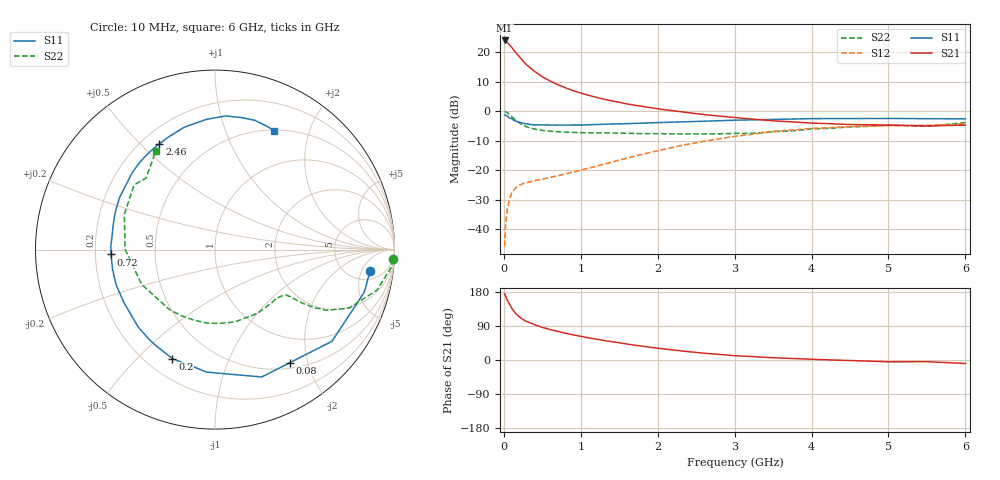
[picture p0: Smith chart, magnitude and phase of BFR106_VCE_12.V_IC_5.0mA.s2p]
! Infineon Technologies  Discrete & RF Semiconductors
! BFR106
! VCE =  12. V,  IC =  5.0 mA
! Common Emitter S-Parameters:  Nov 2015
# GHz  S  MA  R  50
!  f  S11  S21  S12  S22
! GHz  MAG  ANG  MAG  ANG  MAG  ANG  MAG  ANG
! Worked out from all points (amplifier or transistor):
!   210 points, 10 MHz to 6 GHz, reference 50 ohm
!   highest |S21| = 24.0 dB at 10 MHz (marker M1)
!   |S21| within 3 dB of that: start of sweep to 122.1 MHz
!   unconditionally stable (mu >= 1): 636.8 MHz to 1.842 GHz; 5.055 GHz to end of sweep
!   at 185 MHz: K = 0.38, MSG = 22.2 dB, |S12| = -25.5 dB
!   at 1.52 GHz: K = 1.10, MAG = 7.8 dB, |S12| = -16.5 dB
!   at 6 GHz: K = 1.02, MAG = -1.0 dB, |S12| = -4.3 dB
!   S11 on the Smith chart (normalised r, x): 10 MHz: 7, -7; 80 MHz: 0.58, -1.71; 200 MHz: 0.30, -0.64; 720 MHz: 0.27, -0.02; 2.46 GHz: 0.27, +0.57; 6 GHz: 0.51, +1.49
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0.01  0.8724 -8.0  15.88 174.2  0.0051 87.4  0.9925 -3.1
0.02  0.8646 -16.0  15.77 169.8  0.0104 81.4  0.9846 -6.0
0.05  0.8281 -38.1  14.63 155.3  0.0235 70.2  0.9301 -14.1
0.08  0.7555 -56.5  13.08 145.2  0.0335 60.7  0.8574 -19.5
0.1  0.7559 -69.9  12.32 137.3  0.0405 57.0  0.8138 -23.6
0.15  0.6841 -93.9  10.07 123.0  0.0494 47.9  0.7068 -28.6
0.2  0.652 -111.3  8.392 114.0  0.0549 44.2  0.6324 -30.5
0.24  0.6281 -121.6  7.304 108.2  0.0582 41.7  0.5871 -31.2
0.26  0.6203 -126.3  6.844 105.6  0.0595 41.0  0.5688 -31.5
0.3  0.6077 -134.7  6.057 101.2  0.0615 40.7  0.541 -31.8
0.4  0.587 -149.8  4.728 92.9  0.066 41.1  0.4941 -32.0
0.5  0.5846 -160.4  3.836 86.0  0.07 42.9  0.4696 -32.6
0.6  0.5811 -169.1  3.253 80.3  0.0747 45.9  0.4574 -34.0
0.72  0.5795 -177.3  2.757 74.3  0.0809 49.4  0.4461 -36.3
1.02  0.5831 167.0  1.991 61.6  0.1007 57.7  0.4324 -43.3
1.4  0.6056 151.3  1.495 48.4  0.1359 64.3  0.4267 -55.0
2.02  0.6421 130.7  1.088 30.7  0.2163 65.3  0.4143 -78.8
2.46  0.6657 117.7  0.922 20.8  0.2852 61.1  0.41 -99.3
3.1  0.706 101.9  0.759 10.4  0.3878 50.6  0.4181 -132.9
4.1  0.7469 84.1  0.622 1.1  0.5152 30.5  0.5033 175.4
5.1  0.7514 71.7  0.578 -4.7  0.5694 13.0  0.5718 139.9
6  0.7408 63.6  0.581 -9.1  0.6088 1.0  0.6419 120.8
